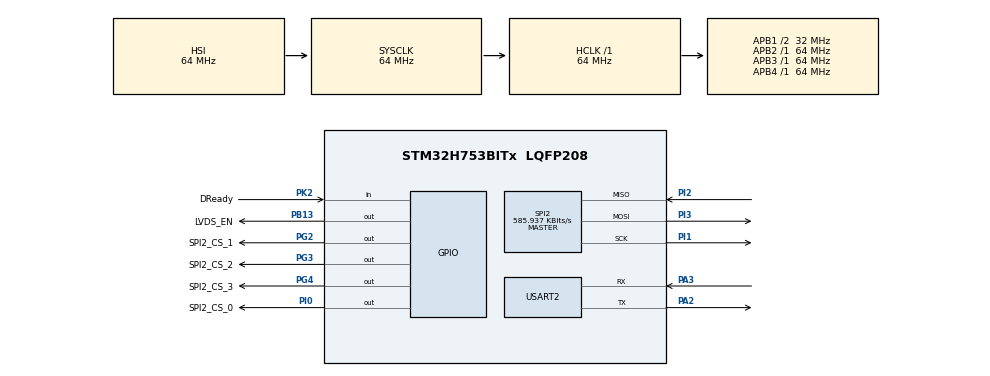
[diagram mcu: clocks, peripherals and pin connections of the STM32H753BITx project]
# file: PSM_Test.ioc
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Mcu.Family=STM32H7
Mcu.Name=STM32H753BITx
Mcu.Package=LQFP208
NVIC.PriorityGroup=NVIC_PRIORITYGROUP_4
PA13\ (JTMS/SWDIO).Mode=Serial_Wire
PA13\ (JTMS/SWDIO).Signal=DEBUG_JTMS-SWDIO
PA14\ (JTCK/SWCLK).Mode=Serial_Wire
PA14\ (JTCK/SWCLK).Signal=DEBUG_JTCK-SWCLK
PA2.Mode=Asynchronous
PA2.Signal=USART2_TX
PA3.Mode=Asynchronous
PA3.Signal=USART2_RX
PB13.GPIO_Label=LVDS_EN
PB13.Signal=GPIO_Output
PG2.GPIO_Label=SPI2_CS_1
PG2.Signal=GPIO_Output
PG3.GPIO_Label=SPI2_CS_2
PG3.Signal=GPIO_Output
PG4.GPIO_Label=SPI2_CS_3
PG4.Signal=GPIO_Output
PI0.GPIO_Label=SPI2_CS_0
PI0.Signal=GPIO_Output
PI1.Mode=Full_Duplex_Master
PI1.Signal=SPI2_SCK
PI2.Mode=Full_Duplex_Master
PI2.Signal=SPI2_MISO
PI3.Mode=Full_Duplex_Master
PI3.Signal=SPI2_MOSI
PK2.GPIO_Label=DReady
PK2.Signal=GPIO_Input
ProjectManager.HeapSize=0x200
ProjectManager.StackSize=0x400
ProjectManager.TargetToolchain=STM32CubeIDE
RCC.ADCFreq_Value=129000000
RCC.APB1Freq_Value=32000000
RCC.APB2Freq_Value=64000000
RCC.APB3Freq_Value=64000000
RCC.APB4Freq_Value=64000000
RCC.CortexFreq_Value=64000000
RCC.D2PPRE1=RCC_APB1_DIV2
RCC.DIVM1=4
RCC.DIVN1=9
RCC.HCLKFreq_Value=64000000
RCC.HSE_VALUE=32000000
RCC.PLLFRACN=3072
RCC.SYSCLKFreq_VALUE=64000000
RCC.USBFreq_Value=75000000
SPI2.BaudRatePrescaler=SPI_BAUDRATEPRESCALER_128
SPI2.CalculateBaudRate=585.937 KBits/s
SPI2.DataSize=SPI_DATASIZE_8BIT
SPI2.Direction=SPI_DIRECTION_2LINES
SPI2.Mode=SPI_MODE_MASTER
SPI2.VirtualType=VM_MASTER
USART2.VirtualMode-Asynchronous=VM_ASYNC
board=custom

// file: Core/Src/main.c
/* USER CODE BEGIN Header */
/**
  ******************************************************************************
  * @file           : main.c
  * @brief          : Main program body
  ******************************************************************************
  * @attention
  *
  * Copyright (c) 2022 STMicroelectronics.
  * All rights reserved.
  *
  * This software is licensed under terms that can be found in the LICENSE file
  * in the root directory of this software component.
  * If no LICENSE file comes with this software, it is provided AS-IS.
  *
  ******************************************************************************
  */
/* USER CODE END Header */
#include "main.h"

/* USER CODE BEGIN Includes */
#include "psm.h"
#include <stdlib.h>
#include <string.h>
#include <stdio.h>

/* USER CODE END Includes */

SPI_HandleTypeDef hspi2;

UART_HandleTypeDef huart2;

void SystemClock_Config(void);
static void MX_GPIO_Init(void);
static void MX_SPI2_Init(void);
static void MX_USART2_UART_Init(void);

int main(void)
{

  /* MCU Configuration--------------------------------------------------------*/

  /* Reset of all peripherals, Initializes the Flash interface and the Systick. */
   HAL_Init();

  /* Configure the system clock */
  SystemClock_Config();

  /* Initialize all configured peripherals */
  MX_GPIO_Init();
  MX_SPI2_Init();
  MX_USART2_UART_Init();
  /* USER CODE BEGIN 2 */

  //PSM-related variables
	struct PSM_Peripheral psmPeriph;

	psmPeriph.CSPin0 = SPI2_CS_0_Pin;
	psmPeriph.CSPin1 = SPI2_CS_1_Pin;
	psmPeriph.CSPin2 = SPI2_CS_2_Pin;
	psmPeriph.CSPin3 = SPI2_CS_3_Pin;

	psmPeriph.CSPort0 = SPI2_CS_0_GPIO_Port;
	psmPeriph.CSPort1 = SPI2_CS_1_GPIO_Port;
	psmPeriph.CSPort2 = SPI2_CS_2_GPIO_Port;
	psmPeriph.CSPort3 = SPI2_CS_3_GPIO_Port;

	psmPeriph.LVDSPort = LVDS_EN_GPIO_Port;
	psmPeriph.LVDSPin = LVDS_EN_Pin;

	psmPeriph.DreadyPin = DReady_Pin;
	psmPeriph.DreadyPort = DReady_GPIO_Port;

	PSM_Init(&psmPeriph, 3); //2nd argument is PSM ID
	configPSM(&psmPeriph, &hspi2, &huart2, "1234", 2);

  /* USER CODE END 2 */

  /* Infinite loop */
  while (1){

    /* USER CODE BEGIN 3 */
	  char printString[50];

	  double PSMBuffer[30] = {-1, -1, -1};
	  PSMRead(&psmPeriph, &hspi2, &huart2, 1, 2, 4, PSMBuffer, 2);
	  sprintf(printString, "PSMBuffer[0]: %lf\nPSMBuffer[1]: %lf\n", PSMBuffer[0], PSMBuffer[1]);
	  HAL_UART_Transmit(&huart2, (uint8_t*) printString, strlen(printString), 10);

//	  double PSMBuffer2[30] = {-1, -1, -1};
//	  PSMRead(&psmPeriph, &hspi2, &huart2, 1, 2, 1, PSMBuffer2, 2);
//	  sprintf(printString, "PSMBuffer2[0]: %lf\nPSMBuffer2[1]: %lf\n\n", PSMBuffer2[0], PSMBuffer2[1]);
//	  HAL_UART_Transmit(&huart2, (uint8_t*) printString, strlen(printString), 10);

	  HAL_Delay(1000);

//	  int receiveBuffer = 0;

//	  do {
//		  HAL_GPIO_WritePin(SPI2_CS_1_GPIO_Port, SPI2_CS_1_Pin, GPIO_PIN_RESET);
//		  HAL_SPI_Transmit(&hspi2, (uint8_t *) 0x9, 1, 10);
//		  HAL_GPIO_WritePin(SPI2_CS_1_GPIO_Port, SPI2_CS_1_Pin, GPIO_PIN_SET);
//
//		  HAL_GPIO_WritePin(SPI2_CS_1_GPIO_Port, SPI2_CS_1_Pin, GPIO_PIN_RESET);
//		  HAL_SPI_Receive(&hspi2, receiveBuffer, 1, 10);
//		  HAL_GPIO_WritePin(SPI2_CS_1_GPIO_Port, SPI2_CS_1_Pin, GPIO_PIN_SET);
//
//		  HAL_Delay(100);
//	  } while ((receiveBuffer & 0b00000001) != 0);

	  //Wait for DREADY to be low

//	  int dataBuffer[30] = {0, 0, 0};
//	  char printString[50];
//
//	  //CURRENT
//	  HAL_GPIO_WritePin(SPI2_CS_1_GPIO_Port, SPI2_CS_1_Pin, GPIO_PIN_RESET);
//	  HAL_SPI_Transmit(&hspi2, (uint8_t *) 0x0, 1, 10);
//	  HAL_GPIO_WritePin(SPI2_CS_1_GPIO_Port, SPI2_CS_1_Pin, GPIO_PIN_SET);
//
//	  HAL_GPIO_WritePin(SPI2_CS_1_GPIO_Port, SPI2_CS_1_Pin, GPIO_PIN_RESET);
//	  HAL_SPI_Receive(&hspi2, &dataBuffer, 1, 10);
//	  HAL_GPIO_WritePin(SPI2_CS_1_GPIO_Port, SPI2_CS_1_Pin, GPIO_PIN_SET);
//
////	  for (int i = 0; i < 3; i++){
////		  sprinft(printString, "Current[%d]: %d\n", i, dataBuffer[i]);
////		  HAL_UART_Transmit(&huart2, "Data not ready\n", strlen(printString), 10);
////	  }
//
//	  //VOLTAGE 1
//	  HAL_GPIO_WritePin(SPI2_CS_1_GPIO_Port, SPI2_CS_1_Pin, GPIO_PIN_RESET);
//	  HAL_SPI_Transmit(&hspi2, (uint8_t *) 0x1, 1, 10);
//	  HAL_GPIO_WritePin(SPI2_CS_1_GPIO_Port, SPI2_CS_1_Pin, GPIO_PIN_SET);
//
//	  HAL_GPIO_WritePin(SPI2_CS_1_GPIO_Port, SPI2_CS_1_Pin, GPIO_PIN_RESET);
//	  HAL_SPI_Receive(&hspi2, &dataBuffer, 1, 10);
//	  HAL_GPIO_WritePin(SPI2_CS_1_GPIO_Port, SPI2_CS_1_Pin, GPIO_PIN_SET);
//
////	  for (int i = 0; i < 3; i++){
////		  sprinft(printString, "Voltage1[%d]: %d\n", i, dataBuffer[i]);
////		  HAL_UART_Transmit(&huart2, "Data not ready\n", strlen(printString), 10);
////	  }
//
//	  //VOLTAGE 2
//	  HAL_GPIO_WritePin(SPI2_CS_1_GPIO_Port, SPI2_CS_1_Pin, GPIO_PIN_RESET);
//	  HAL_SPI_Transmit(&hspi2, (uint8_t *) 0x2, 1, 10);
//	  HAL_GPIO_WritePin(SPI2_CS_1_GPIO_Port, SPI2_CS_1_Pin, GPIO_PIN_SET);
//
//	  HAL_GPIO_WritePin(SPI2_CS_1_GPIO_Port, SPI2_CS_1_Pin, GPIO_PIN_RESET);
//	  HAL_SPI_Receive(&hspi2, &dataBuffer, 1, 10);
//	  HAL_GPIO_WritePin(SPI2_CS_1_GPIO_Port, SPI2_CS_1_Pin, GPIO_PIN_SET);
//
////	  for (int i = 0; i < 3; i++){
////		  sprinft(printString, "Voltage2[%d]: %d\n", i, dataBuffer[i]);
////		  HAL_UART_Transmit(&huart2, "Data not ready\n", strlen(printString), 10);
////	  }
//
//	  HAL_GPIO_WritePin(SPI2_CS_1_GPIO_Port, SPI2_CS_1_Pin, GPIO_PIN_SET);
//	  HAL_Delay(250);
  }
  /* USER CODE END 3 */
}

void SystemClock_Config(void){
RCC_OscInitTypeDef RCC_OscInitStruct = {0};
  RCC_ClkInitTypeDef RCC_ClkInitStruct = {0};

  /** Supply configuration update enable
  */
  HAL_PWREx_ConfigSupply(PWR_LDO_SUPPLY);
  /** Configure the main internal regulator output voltage
  */
  __HAL_PWR_VOLTAGESCALING_CONFIG(PWR_REGULATOR_VOLTAGE_SCALE3);

  while(!__HAL_PWR_GET_FLAG(PWR_FLAG_VOSRDY)) {}
  /** Initializes the RCC Oscillators according to the specified parameters
  * in the RCC_OscInitTypeDef structure.
  */
  RCC_OscInitStruct.OscillatorType = RCC_OSCILLATORTYPE_HSI;
  RCC_OscInitStruct.HSIState = RCC_HSI_DIV1;
  RCC_OscInitStruct.HSICalibrationValue = RCC_HSICALIBRATION_DEFAULT;
  RCC_OscInitStruct.PLL.PLLState = RCC_PLL_ON;
  RCC_OscInitStruct.PLL.PLLSource = RCC_PLLSOURCE_HSI;
  RCC_OscInitStruct.PLL.PLLM = 4;
  RCC_OscInitStruct.PLL.PLLN = 9;
  RCC_OscInitStruct.PLL.PLLP = 2;
  RCC_OscInitStruct.PLL.PLLQ = 2;
  RCC_OscInitStruct.PLL.PLLR = 2;
  RCC_OscInitStruct.PLL.PLLRGE = RCC_PLL1VCIRANGE_3;
  RCC_OscInitStruct.PLL.PLLVCOSEL = RCC_PLL1VCOMEDIUM;
  RCC_OscInitStruct.PLL.PLLFRACN = 3072;
  if (HAL_RCC_OscConfig(&RCC_OscInitStruct) != HAL_OK)
  {
    Error_Handler();
  }
  /** Initializes the CPU, AHB and APB buses clocks
  */
  RCC_ClkInitStruct.ClockType = RCC_CLOCKTYPE_HCLK|RCC_CLOCKTYPE_SYSCLK
                              |RCC_CLOCKTYPE_PCLK1|RCC_CLOCKTYPE_PCLK2
                              |RCC_CLOCKTYPE_D3PCLK1|RCC_CLOCKTYPE_D1PCLK1;
  RCC_ClkInitStruct.SYSCLKSource = RCC_SYSCLKSOURCE_HSI;
  RCC_ClkInitStruct.SYSCLKDivider = RCC_SYSCLK_DIV1;
  RCC_ClkInitStruct.AHBCLKDivider = RCC_HCLK_DIV1;
  RCC_ClkInitStruct.APB3CLKDivider = RCC_APB3_DIV1;
  RCC_ClkInitStruct.APB1CLKDivider = RCC_APB1_DIV2;
  RCC_ClkInitStruct.APB2CLKDivider = RCC_APB2_DIV1;
  RCC_ClkInitStruct.APB4CLKDivider = RCC_APB4_DIV1;

  if (HAL_RCC_ClockConfig(&RCC_ClkInitStruct, FLASH_LATENCY_1) != HAL_OK)
  {
    Error_Handler();
  }
}

static void MX_SPI2_Init(void)
{

  /* SPI2 parameter configuration*/
  hspi2.Instance = SPI2;
  hspi2.Init.Mode = SPI_MODE_MASTER;
  hspi2.Init.Direction = SPI_DIRECTION_2LINES;
  hspi2.Init.DataSize = SPI_DATASIZE_8BIT;
  hspi2.Init.CLKPolarity = SPI_POLARITY_LOW;
  hspi2.Init.CLKPhase = SPI_PHASE_1EDGE;
  hspi2.Init.NSS = SPI_NSS_SOFT;
  hspi2.Init.BaudRatePrescaler = SPI_BAUDRATEPRESCALER_128;
  hspi2.Init.FirstBit = SPI_FIRSTBIT_MSB;
  hspi2.Init.TIMode = SPI_TIMODE_DISABLE;
  hspi2.Init.CRCCalculation = SPI_CRCCALCULATION_DISABLE;
  hspi2.Init.CRCPolynomial = 0x0;
  hspi2.Init.NSSPMode = SPI_NSS_PULSE_ENABLE;
  hspi2.Init.NSSPolarity = SPI_NSS_POLARITY_LOW;
  hspi2.Init.FifoThreshold = SPI_FIFO_THRESHOLD_01DATA;
  hspi2.Init.TxCRCInitializationPattern = SPI_CRC_INITIALIZATION_ALL_ZERO_PATTERN;
  hspi2.Init.RxCRCInitializationPattern = SPI_CRC_INITIALIZATION_ALL_ZERO_PATTERN;
  hspi2.Init.MasterSSIdleness = SPI_MASTER_SS_IDLENESS_00CYCLE;
  hspi2.Init.MasterInterDataIdleness = SPI_MASTER_INTERDATA_IDLENESS_00CYCLE;
  hspi2.Init.MasterReceiverAutoSusp = SPI_MASTER_RX_AUTOSUSP_DISABLE;
  hspi2.Init.MasterKeepIOState = SPI_MASTER_KEEP_IO_STATE_DISABLE;
  hspi2.Init.IOSwap = SPI_IO_SWAP_DISABLE;
  if (HAL_SPI_Init(&hspi2) != HAL_OK)
  {
    Error_Handler();
  }

}

static void MX_USART2_UART_Init(void)
{

  huart2.Instance = USART2;
  huart2.Init.BaudRate = 115200;
  huart2.Init.WordLength = UART_WORDLENGTH_8B;
  huart2.Init.StopBits = UART_STOPBITS_1;
  huart2.Init.Parity = UART_PARITY_NONE;
  huart2.Init.Mode = UART_MODE_TX_RX;
  huart2.Init.HwFlowCtl = UART_HWCONTROL_NONE;
  huart2.Init.OverSampling = UART_OVERSAMPLING_16;
  huart2.Init.OneBitSampling = UART_ONE_BIT_SAMPLE_DISABLE;
  huart2.Init.ClockPrescaler = UART_PRESCALER_DIV1;
  huart2.AdvancedInit.AdvFeatureInit = UART_ADVFEATURE_NO_INIT;
  if (HAL_UART_Init(&huart2) != HAL_OK)
  {
    Error_Handler();
  }
  if (HAL_UARTEx_SetTxFifoThreshold(&huart2, UART_TXFIFO_THRESHOLD_1_8) != HAL_OK)
  {
    Error_Handler();
  }
  if (HAL_UARTEx_SetRxFifoThreshold(&huart2, UART_RXFIFO_THRESHOLD_1_8) != HAL_OK)
  {
    Error_Handler();
  }
  if (HAL_UARTEx_DisableFifoMode(&huart2) != HAL_OK)
  {
    Error_Handler();
  }

}

static void MX_GPIO_Init(void)
{
  GPIO_InitTypeDef GPIO_InitStruct = {0};

  /* GPIO Ports Clock Enable */
  __HAL_RCC_GPIOE_CLK_ENABLE();
  __HAL_RCC_GPIOI_CLK_ENABLE();
  __HAL_RCC_GPIOC_CLK_ENABLE();
  __HAL_RCC_GPIOF_CLK_ENABLE();
  __HAL_RCC_GPIOH_CLK_ENABLE();
  __HAL_RCC_GPIOA_CLK_ENABLE();
  __HAL_RCC_GPIOB_CLK_ENABLE();
  __HAL_RCC_GPIOJ_CLK_ENABLE();
  __HAL_RCC_GPIOG_CLK_ENABLE();
  __HAL_RCC_GPIOD_CLK_ENABLE();
  __HAL_RCC_GPIOK_CLK_ENABLE();

  /*Configure GPIO pin Output Level */
  HAL_GPIO_WritePin(LVDS_EN_GPIO_Port, LVDS_EN_Pin, GPIO_PIN_RESET);

  /*Configure GPIO pin Output Level */
  HAL_GPIO_WritePin(GPIOG, SPI2_CS_1_Pin|SPI2_CS_2_Pin|SPI2_CS_3_Pin, GPIO_PIN_RESET);

  /*Configure GPIO pin Output Level */
  HAL_GPIO_WritePin(SPI2_CS_0_GPIO_Port, SPI2_CS_0_Pin, GPIO_PIN_RESET);

  /*Configure GPIO pins : PE2 PE3 PE4 PE5
                           PE6 PE7 PE8 PE9
                           PE10 PE11 PE12 PE13
                           PE14 PE15 PE0 PE1 */
  GPIO_InitStruct.Pin = GPIO_PIN_2|GPIO_PIN_3|GPIO_PIN_4|GPIO_PIN_5
                          |GPIO_PIN_6|GPIO_PIN_7|GPIO_PIN_8|GPIO_PIN_9
                          |GPIO_PIN_10|GPIO_PIN_11|GPIO_PIN_12|GPIO_PIN_13
                          |GPIO_PIN_14|GPIO_PIN_15|GPIO_PIN_0|GPIO_PIN_1;
  GPIO_InitStruct.Mode = GPIO_MODE_ANALOG;
  GPIO_InitStruct.Pull = GPIO_NOPULL;
  HAL_GPIO_Init(GPIOE, &GPIO_InitStruct);

  /*Configure GPIO pins : PI8 PI9 PI10 PI11
                           PI12 PI13 PI14 PI15
                           PI4 PI5 PI6 PI7 */
  GPIO_InitStruct.Pin = GPIO_PIN_8|GPIO_PIN_9|GPIO_PIN_10|GPIO_PIN_11
                          |GPIO_PIN_12|GPIO_PIN_13|GPIO_PIN_14|GPIO_PIN_15
                          |GPIO_PIN_4|GPIO_PIN_5|GPIO_PIN_6|GPIO_PIN_7;
  GPIO_InitStruct.Mode = GPIO_MODE_ANALOG;
  GPIO_InitStruct.Pull = GPIO_NOPULL;
  HAL_GPIO_Init(GPIOI, &GPIO_InitStruct);

  /*Configure GPIO pins : PC13 PC14 PC15 PC0
                           PC1 PC2 PC3 PC4
                           PC5 PC6 PC7 PC8
                           PC9 PC10 PC11 PC12 */
  GPIO_InitStruct.Pin = GPIO_PIN_13|GPIO_PIN_14|GPIO_PIN_15|GPIO_PIN_0
                          |GPIO_PIN_1|GPIO_PIN_2|GPIO_PIN_3|GPIO_PIN_4
                          |GPIO_PIN_5|GPIO_PIN_6|GPIO_PIN_7|GPIO_PIN_8
                          |GPIO_PIN_9|GPIO_PIN_10|GPIO_PIN_11|GPIO_PIN_12;
  GPIO_InitStruct.Mode = GPIO_MODE_ANALOG;
  GPIO_InitStruct.Pull = GPIO_NOPULL;
  HAL_GPIO_Init(GPIOC, &GPIO_InitStruct);

  /*Configure GPIO pins : PF0 PF1 PF2 PF3
                           PF4 PF5 PF6 PF7
                           PF8 PF9 PF10 PF11
                           PF12 PF13 PF14 PF15 */
  GPIO_InitStruct.Pin = GPIO_PIN_0|GPIO_PIN_1|GPIO_PIN_2|GPIO_PIN_3
                          |GPIO_PIN_4|GPIO_PIN_5|GPIO_PIN_6|GPIO_PIN_7
                          |GPIO_PIN_8|GPIO_PIN_9|GPIO_PIN_10|GPIO_PIN_11
                          |GPIO_PIN_12|GPIO_PIN_13|GPIO_PIN_14|GPIO_PIN_15;
  GPIO_InitStruct.Mode = GPIO_MODE_ANALOG;
  GPIO_InitStruct.Pull = GPIO_NOPULL;
  HAL_GPIO_Init(GPIOF, &GPIO_InitStruct);

  /*Configure GPIO pins : PH0 PH1 PH2 PH3
                           PH4 PH5 PH6 PH7
                           PH8 PH9 PH10 PH11
                           PH12 PH13 PH14 PH15 */
  GPIO_InitStruct.Pin = GPIO_PIN_0|GPIO_PIN_1|GPIO_PIN_2|GPIO_PIN_3
                          |GPIO_PIN_4|GPIO_PIN_5|GPIO_PIN_6|GPIO_PIN_7
                          |GPIO_PIN_8|GPIO_PIN_9|GPIO_PIN_10|GPIO_PIN_11
                          |GPIO_PIN_12|GPIO_PIN_13|GPIO_PIN_14|GPIO_PIN_15;
  GPIO_InitStruct.Mode = GPIO_MODE_ANALOG;
  GPIO_InitStruct.Pull = GPIO_NOPULL;
  HAL_GPIO_Init(GPIOH, &GPIO_InitStruct);

  /*Configure GPIO pins : PA0 PA1 PA4 PA5
                           PA6 PA7 PA8 PA9
                           PA10 PA11 PA12 PA15 */
  GPIO_InitStruct.Pin = GPIO_PIN_0|GPIO_PIN_1|GPIO_PIN_4|GPIO_PIN_5
                          |GPIO_PIN_6|GPIO_PIN_7|GPIO_PIN_8|GPIO_PIN_9
                          |GPIO_PIN_10|GPIO_PIN_11|GPIO_PIN_12|GPIO_PIN_15;
  GPIO_InitStruct.Mode = GPIO_MODE_ANALOG;
  GPIO_InitStruct.Pull = GPIO_NOPULL;
  HAL_GPIO_Init(GPIOA, &GPIO_InitStruct);

  /*Configure GPIO pins : PB0 PB1 PB2 PB10
                           PB11 PB12 PB14 PB15
                           PB3 PB4 PB5 PB6
                           PB7 PB8 PB9 */
  GPIO_InitStruct.Pin = GPIO_PIN_0|GPIO_PIN_1|GPIO_PIN_2|GPIO_PIN_10
                          |GPIO_PIN_11|GPIO_PIN_12|GPIO_PIN_14|GPIO_PIN_15
                          |GPIO_PIN_3|GPIO_PIN_4|GPIO_PIN_5|GPIO_PIN_6
                          |GPIO_PIN_7|GPIO_PIN_8|GPIO_PIN_9;
  GPIO_InitStruct.Mode = GPIO_MODE_ANALOG;
  GPIO_InitStruct.Pull = GPIO_NOPULL;
  HAL_GPIO_Init(GPIOB, &GPIO_InitStruct);

  /*Configure GPIO pins : PJ0 PJ1 PJ2 PJ3
                           PJ4 PJ5 PJ6 PJ7
                           PJ8 PJ9 PJ10 PJ11
                           PJ12 PJ13 PJ14 PJ15 */
  GPIO_InitStruct.Pin = GPIO_PIN_0|GPIO_PIN_1|GPIO_PIN_2|GPIO_PIN_3
                          |GPIO_PIN_4|GPIO_PIN_5|GPIO_PIN_6|GPIO_PIN_7
                          |GPIO_PIN_8|GPIO_PIN_9|GPIO_PIN_10|GPIO_PIN_11
                          |GPIO_PIN_12|GPIO_PIN_13|GPIO_PIN_14|GPIO_PIN_15;
  GPIO_InitStruct.Mode = GPIO_MODE_ANALOG;
  GPIO_InitStruct.Pull = GPIO_NOPULL;
  HAL_GPIO_Init(GPIOJ, &GPIO_InitStruct);

  /*Configure GPIO pins : PG0 PG1 PG5 PG6
                           PG7 PG8 PG9 PG10
                           PG11 PG12 PG13 PG14
                           PG15 */
  GPIO_InitStruct.Pin = GPIO_PIN_0|GPIO_PIN_1|GPIO_PIN_5|GPIO_PIN_6
                          |GPIO_PIN_7|GPIO_PIN_8|GPIO_PIN_9|GPIO_PIN_10
                          |GPIO_PIN_11|GPIO_PIN_12|GPIO_PIN_13|GPIO_PIN_14
                          |GPIO_PIN_15;
  GPIO_InitStruct.Mode = GPIO_MODE_ANALOG;
  GPIO_InitStruct.Pull = GPIO_NOPULL;
  HAL_GPIO_Init(GPIOG, &GPIO_InitStruct);

  /*Configure GPIO pin : LVDS_EN_Pin */
  GPIO_InitStruct.Pin = LVDS_EN_Pin;
  GPIO_InitStruct.Mode = GPIO_MODE_OUTPUT_PP;
  GPIO_InitStruct.Pull = GPIO_NOPULL;
  GPIO_InitStruct.Speed = GPIO_SPEED_FREQ_LOW;
  HAL_GPIO_Init(LVDS_EN_GPIO_Port, &GPIO_InitStruct);

  /*Configure GPIO pins : PD8 PD9 PD10 PD11
                           PD12 PD13 PD14 PD15
                           PD0 PD1 PD2 PD3
                           PD4 PD5 PD6 PD7 */
  GPIO_InitStruct.Pin = GPIO_PIN_8|GPIO_PIN_9|GPIO_PIN_10|GPIO_PIN_11
                          |GPIO_PIN_12|GPIO_PIN_13|GPIO_PIN_14|GPIO_PIN_15
                          |GPIO_PIN_0|GPIO_PIN_1|GPIO_PIN_2|GPIO_PIN_3
                          |GPIO_PIN_4|GPIO_PIN_5|GPIO_PIN_6|GPIO_PIN_7;
  GPIO_InitStruct.Mode = GPIO_MODE_ANALOG;
  GPIO_InitStruct.Pull = GPIO_NOPULL;
  HAL_GPIO_Init(GPIOD, &GPIO_InitStruct);

  /*Configure GPIO pins : PK0 PK1 PK3 PK4
                           PK5 PK6 PK7 */
  GPIO_InitStruct.Pin = GPIO_PIN_0|GPIO_PIN_1|GPIO_PIN_3|GPIO_PIN_4
                          |GPIO_PIN_5|GPIO_PIN_6|GPIO_PIN_7;
  GPIO_InitStruct.Mode = GPIO_MODE_ANALOG;
  GPIO_InitStruct.Pull = GPIO_NOPULL;
  HAL_GPIO_Init(GPIOK, &GPIO_InitStruct);

  /*Configure GPIO pin : DReady_Pin */
  GPIO_InitStruct.Pin = DReady_Pin;
  GPIO_InitStruct.Mode = GPIO_MODE_INPUT;
  GPIO_InitStruct.Pull = GPIO_NOPULL;
  HAL_GPIO_Init(DReady_GPIO_Port, &GPIO_InitStruct);

  /*Configure GPIO pins : SPI2_CS_1_Pin SPI2_CS_2_Pin SPI2_CS_3_Pin */
  GPIO_InitStruct.Pin = SPI2_CS_1_Pin|SPI2_CS_2_Pin|SPI2_CS_3_Pin;
  GPIO_InitStruct.Mode = GPIO_MODE_OUTPUT_PP;
  GPIO_InitStruct.Pull = GPIO_NOPULL;
  GPIO_InitStruct.Speed = GPIO_SPEED_FREQ_LOW;
  HAL_GPIO_Init(GPIOG, &GPIO_InitStruct);

  /*Configure GPIO pin : SPI2_CS_0_Pin */
  GPIO_InitStruct.Pin = SPI2_CS_0_Pin;
  GPIO_InitStruct.Mode = GPIO_MODE_OUTPUT_PP;
  GPIO_InitStruct.Pull = GPIO_NOPULL;
  GPIO_InitStruct.Speed = GPIO_SPEED_FREQ_LOW;
  HAL_GPIO_Init(SPI2_CS_0_GPIO_Port, &GPIO_InitStruct);

}

void Error_Handler(void)
{
  __disable_irq();
  while (1)
  {
  }
}
